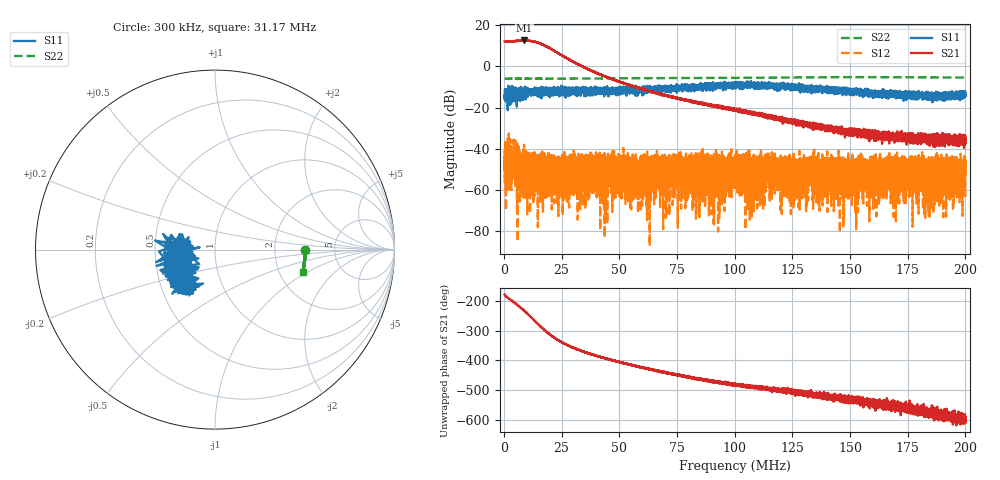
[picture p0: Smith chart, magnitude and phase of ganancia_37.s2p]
# Hz S DB R 50
! CMT, M5065, 19127446, 24.2.4/2
! Date: 11/8/2024 3:08:52 PM
! Data: Format (Calibration Info)
! Freq	S11:dB/Ang(F2)	S21:dB/Ang(F2)	S12:dB/Ang(F2)	S22:dB/Ang(F2)
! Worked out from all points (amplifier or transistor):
!   9000 points, 300 kHz to 200 MHz, reference 50 ohm
!   highest |S21| = 12.7 dB at 8.821 MHz (marker M1)
!   |S21| within 3 dB of that: start of sweep to 18.56 MHz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
!   unconditionally stable (mu >= 1): start of sweep to end of sweep
!   at 33.59 MHz: K = 59.34, MAG = 1.8 dB, |S12| = -44.9 dB
!   at 100.2 MHz: K = 1032.58, MAG = -19.0 dB, |S12| = -49.4 dB
!   at 200 MHz: K = 6002.95, MAG = -35.2 dB, |S12| = -48.1 dB
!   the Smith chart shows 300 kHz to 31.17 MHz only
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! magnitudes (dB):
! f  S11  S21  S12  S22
! 300 kHz  -14.2  12.2  -51.0  -6.0
! 2.941 MHz  -10.1  12.2  -47.0  -6.0
! 8.821 MHz  -14.0  12.7  -45.2  -6.0
! 15.32 MHz  -12.0  11.4  -60.1  -6.0
! 17.21 MHz  -11.9  10.4  -55.4  -6.0
! 33.59 MHz  -12.3  0.2  -44.9  -5.9
! 66.87 MHz  -10.5  -13.2  -51.9  -5.7
! 100.2 MHz  -8.3  -21.1  -49.4  -5.5
! 111.9 MHz  -8.6  -23.2  -58.3  -5.5
! 114.7 MHz  -9.6  -24.1  -45.4  -5.5
! 120.2 MHz  -9.0  -26.0  -46.6  -5.4
! 122.9 MHz  -9.4  -27.1  -50.8  -5.4
! 125.3 MHz  -9.9  -26.8  -42.7  -5.4
! 133.4 MHz  -11.6  -28.5  -49.3  -5.3
! 144.8 MHz  -11.8  -31.3  -63.0  -5.2
! 166.7 MHz  -15.6  -33.5  -57.1  -5.2
! 173.9 MHz  -12.8  -33.7  -54.4  -5.2
! 181.2 MHz  -12.9  -34.4  -49.6  -5.3
! 183.1 MHz  -14.0  -35.1  -49.9  -5.3
! 187.8 MHz  -14.0  -35.8  -51.1  -5.3
! 195.7 MHz  -13.8  -37.4  -59.9  -5.4
! 200 MHz  -13.4  -36.9  -48.1  -5.4
